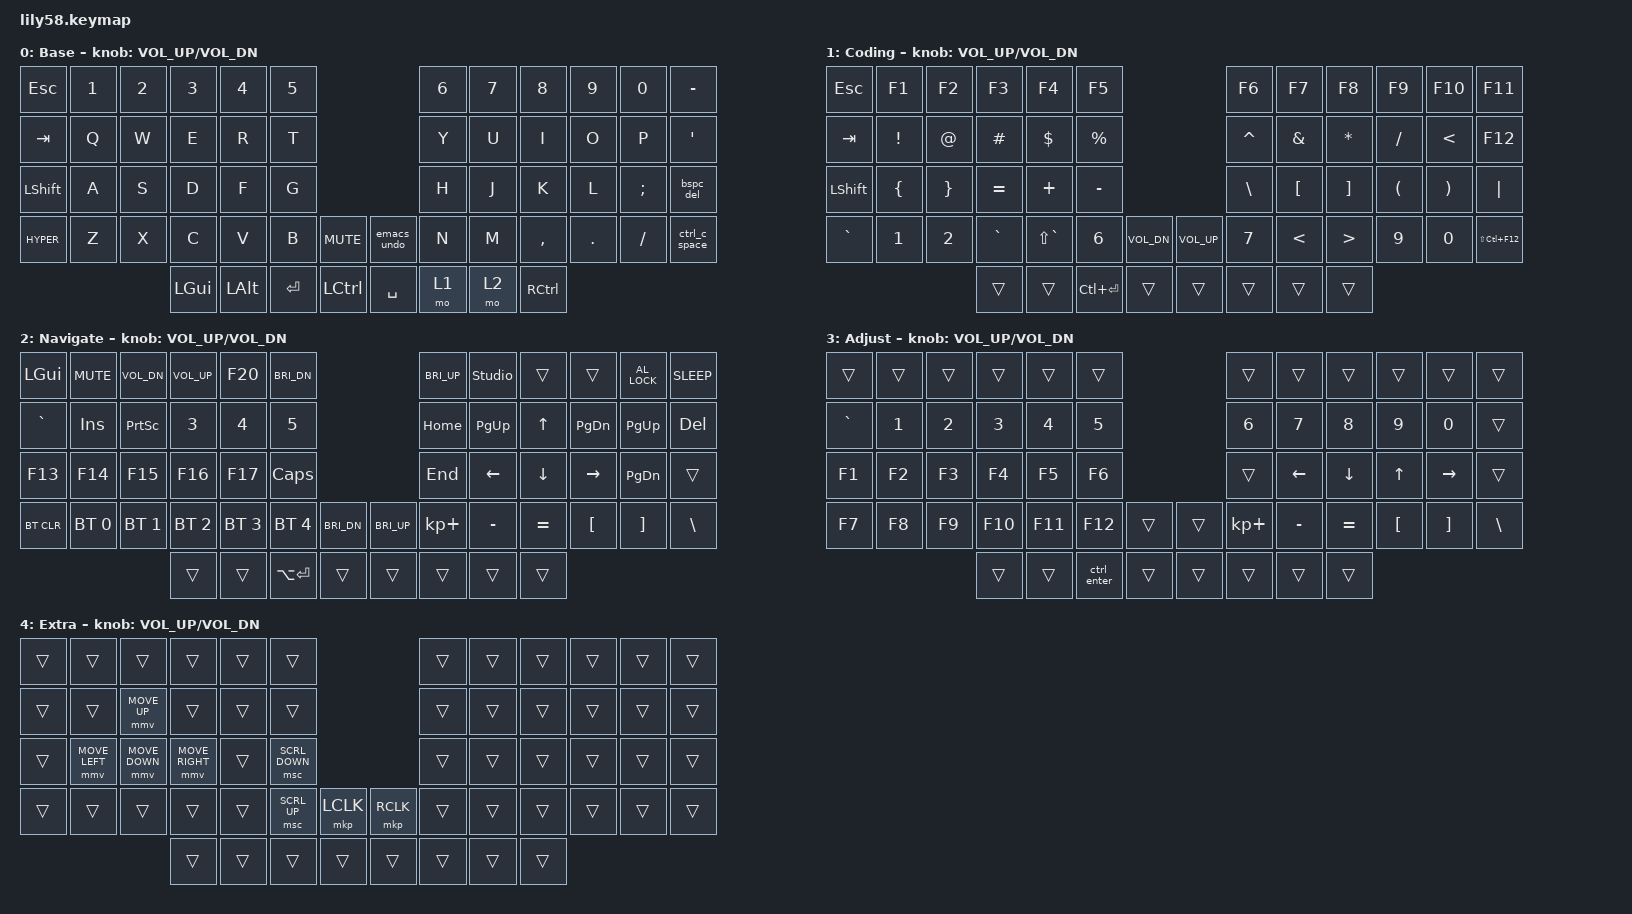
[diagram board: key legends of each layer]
/*
 * Copyright (c) 2020 The ZMK Contributors
 *
 * SPDX-License-Identifier: MIT
 */

#include <behaviors.dtsi>
#include <dt-bindings/zmk/keys.h>
#include <dt-bindings/zmk/bt.h>
#include <dt-bindings/zmk/ext_power.h>
#include <dt-bindings/zmk/pointing.h>
#include <dt-bindings/zmk/modifiers.h>
#include <dt-bindings/zmk/behaviors.h>

#define default_layer 0
#define coding_layer 1
#define navigate_layer 2
#define adjust_layer 3
#define extra_layer 4

#define HYPER (MOD_LCTL | MOD_LALT | MOD_LSFT | MOD_LGUI)

/ {
    macros {
        ctrl_c_space: ctrl_c_space {
            compatible = "zmk,behavior-macro";
            label = "CTRL_C_SPACE";
            #binding-cells = <0>;

            bindings =
                <&macro_press &kp LCTRL>
                ,<&macro_tap &kp C>
                ,<&macro_release &kp LCTRL>
                ,<&macro_tap &kp SPACE>;
        };

        ctrl_enter: ctrl_enter {
            compatible = "zmk,behavior-macro";
            label = "CTRL_ENTER";
            #binding-cells = <0>;

            bindings =
                <&macro_press &kp LCTRL>
                ,<&macro_tap &kp ENTER>
                ,<&macro_release &kp LCTRL>;
        };

	alt_enter: alt_enter {
            compatible = "zmk,behavior-macro";
            label = "ALT_ENTER";
            #binding-cells = <0>;

            bindings =
                <&macro_press &kp LALT>
                ,<&macro_tap &kp ENTER>
                ,<&macro_release &kp LALT>;
        };

	emacs_undo: emacs_undo {
            compatible = "zmk,behavior-macro";
            label = "EMACS_UNDO";
            #binding-cells = <0>;

            bindings =
                <&macro_press &kp LCTRL>
                ,<&macro_tap &kp UNDER>
                ,<&macro_release &kp LCTRL>;
        };


    };

    behaviors {
      bspc_del: bspc_del {
        compatible = "zmk,behavior-mod-morph";
        #binding-cells = <0>;

        bindings = <&kp BACKSPACE>, <&kp DELETE>;
        mods = <(MOD_LSFT|MOD_RSFT)>;
      };


      f21_f22: f21_f22 {
        compatible = "zmk,behavior-mod-morph";
        #binding-cells = <0>;

        bindings = <&kp F21>, <&kp F22>;
	mods = <(MOD_LCTL|MOD_LSFT|MOD_RSFT)>;
      };

   };



    keymap {
        compatible = "zmk,keymap";

        default_layer {
            display-name = "Base";

// ------------------------------------------------------------------------------------------------------------
// |  ESC  |  1  |  2  |  3   |  4   |  5   |                   |  6   |  7    |  8    |  9   |   0   |   `   |
// |  TAB  |  Q  |  W  |  E   |  R   |  T   |                   |  Y   |  U    |  I    |  O   |   P   |   -   |
// |  CTRL |  A  |  S  |  D   |  F   |  G   |                   |  H   |  J    |  K    |  L   |   ;   |   '   |
// | SHIFT |  Z  |  X  |  C   |  V   |  B   |   "["  |  |  "]"  |  N   |  M    |  ,    |  .   |   /   | SHIFT |
//                     | ALT  | GUI  | LOWER|  SPACE |  | ENTER | RAISE| BSPC  | GUI   |
            bindings = <
&kp ESCAPE      &kp N1  &kp N2  &kp N3    &kp N4     &kp N5                          &kp N6  &kp N7     &kp N8        &kp N9   &kp N0    &kp MINUS
&kp TAB         &kp Q   &kp W   &kp E     &kp R      &kp T                           &kp Y   &kp U      &kp I         &kp O    &kp P     &kp SQT
&kp LSHIFT      &kp A   &kp S   &kp D     &kp F      &kp G                           &kp H   &kp J      &kp K         &kp L    &kp SEMI  &bspc_del
&kp HYPER       &kp Z   &kp X   &kp C     &kp V      &kp B   &kp C_MUTE   &emacs_undo &kp N  &kp M      &kp COMMA     &kp DOT  &kp FSLH  &ctrl_c_space
                                &kp LGUI  &kp LALT   &kp RET &kp LCTRL  &kp SPACE  &mo 1   &mo 2      &kp RCTRL  
            >;

            sensor-bindings = <&inc_dec_kp C_VOL_UP C_VOL_DN>;
        };

        lower_layer {
            display-name = "Coding";
// ------------------------------------------------------------------------------------------------------------
// | BTCLR | BT1 | BT2 |  BT3 |  BT4 |  BT5 |                   |      |       |       |      |       |       |
// |  F1   |  F2 |  F3 |  F4  |  F5  |  F6  |                   |  F7  |  F8   |  F9   |  F10 |  F11  |  F12  |
// |   `   |  !  |  @  |  #   |  $   |  %   |                   |  ^   |  &    |  *    |  (   |   )   |   ~   |
// |       |     |     |      |      |      |        |  |       |      |  _    |  +    |  {   |   }   |  "|"  |
//                     |      |      |      |        |  |       |      |       |       |
            bindings = <
&kp ESCAPE     &kp F1         &kp F2        &kp F3        &kp F4          &kp F5                    &kp F6            &kp F7            &kp F8         &kp F9     &kp F10        &kp F11
&kp TAB       &kp EXCL        &kp AT        &kp HASH      &kp DOLLAR      &kp PRCNT                 &kp CARET         &kp AMPS          &kp ASTRK      &kp FSLH   &kp LT          &kp F12
&kp LSHIFT    &kp LEFT_BRACE &kp RIGHT_BRACE &kp EQUAL   &kp PLUS        &kp MINUS                    &kp BACKSLASH    &kp LEFT_BRACKET   &kp RIGHT_BRACKET &kp LPAR &kp RPAR    &kp PIPE
&kp GRAVE     &kp N1       &kp N2          &kp GRAVE    &kp LS(GRAVE) &kp N6   &kp C_VOL_DN  &kp C_VOL_UP    &kp N7  &kp LT      &kp GT  &kp N9         &kp N0      &kp LS(LC(F12))
                                            &trans        &trans          &kp LC(RET)  &trans    &trans    &trans    &trans    &trans
            >;

            sensor-bindings = <&inc_dec_kp C_VOL_UP C_VOL_DN>;
        };

        raise_layer {
            display-name = "Navigate";
// ------------------------------------------------------------------------------------------------------------
// |       |     |     |      |      |      |                   |      |       |       |      |       |       |
// |   `   |  1  |  2  |  3   |  4   |  5   |                   |  6   |   7   |   8   |  9   |   0   |       |
// |   F1  |  F2 |  F3 |  F4  |  F5  |  F6  |                   |      |   <-  |   v   |  ^   |  ->   |       |
// |   F7  |  F8 |  F9 |  F10 |  F11 |  F12 |        |  |       |  +   |   -   |   =   |  [   |   ]   |   \   |
//                     |      |      |      |        |  |       |      |       |       |
            bindings = <
&kp LGUI   &kp C_MUTE  &kp C_VOL_DN     &kp C_VOL_UP &kp F20  &kp C_BRI_DN                           &kp C_BRI_UP  &studio_unlock &trans  &trans     &kp C_AL_LOCK  &kp C_SLEEP
&kp GRAVE  &kp INSERT  &kp PRINTSCREEN  &kp N3   &kp N4   &kp N5                                     &kp HOME    &kp PAGE_UP   &kp UP     &kp PAGE_DOWN    &kp PAGE_UP    &kp DEL
&kp F13    &kp F14     &kp F15          &kp F16  &kp F17  &kp CAPSLOCK                               &kp END  &kp LEFT   &kp DOWN   &kp RIGHT  &kp PAGE_DOWN  &trans
&bt BT_CLR &bt BT_SEL 0 &bt BT_SEL 1  &bt BT_SEL 2 &bt BT_SEL 3 &bt BT_SEL 4   &kp C_BRI_DN  &kp C_BRI_UP   &kp KP_PLUS    &kp MINUS  &kp EQUAL  &kp LBKT   &kp RBKT       &kp BSLH
                                        &trans   &trans   &kp LA(RET)  &trans      &trans         &trans          &trans     &trans
            >;

            sensor-bindings = <&inc_dec_kp C_VOL_UP C_VOL_DN>;
        };
        adjust_layer {
            display-name = "Adjust";
// ------------------------------------------------------------------------------------------------------------
// |       |     |     |      |      |      |                   |      |       |       |      |       |       |
// |   `   |  1  |  2  |  3   |  4   |  5   |                   |  6   |   7   |   8   |  9   |   0   |       |
// |   F1  |  F2 |  F3 |  F4  |  F5  |  F6  |                   |      |   <-  |   v   |  ^   |  ->   |       |
// |   F7  |  F8 |  F9 |  F10 |  F11 |  F12 |        |  |       |  +   |   -   |   =   |  [   |   ]   |   \   |
//                     |      |      |      |        |  |       |      |       |       |
            bindings = <
&trans     &trans  &trans  &trans   &trans   &trans                     &trans       &trans     &trans     &trans    &trans     &trans
&kp GRAVE  &kp N1  &kp N2  &kp N3   &kp N4   &kp N5                     &kp N6       &kp N7     &kp N8     &kp N9    &kp N0     &trans
&kp F1     &kp F2  &kp F3  &kp F4   &kp F5   &kp F6                     &trans       &kp LEFT   &kp DOWN   &kp UP    &kp RIGHT  &trans
&kp F7     &kp F8  &kp F9  &kp F10  &kp F11  &kp F12  &trans    &trans  &kp KP_PLUS  &kp MINUS  &kp EQUAL  &kp LBKT  &kp RBKT   &kp BSLH
                           &trans   &trans   &ctrl_enter   &trans    &trans  &trans       &trans     &trans
            >;

            sensor-bindings = <&inc_dec_kp C_VOL_UP C_VOL_DN>;
        };
        extra_layer {
            display-name = "Extra";
// ------------------------------------------------------------------------------------------------------------
// |       |     |     |      |      |      |                   |      |       |       |      |       |       |
// |   `   |  1  |  2  |  3   |  4   |  5   |                   |  6   |   7   |   8   |  9   |   0   |       |
// |   F1  |  F2 |  F3 |  F4  |  F5  |  F6  |                   |      |   <-  |   v   |  ^   |  ->   |       |
// |   F7  |  F8 |  F9 |  F10 |  F11 |  F12 |        |  |       |  +   |   -   |   =   |  [   |   ]   |   \   |
//                     |      |      |      |        |  |       |      |       |       |
            bindings = <
&trans    &trans &trans &trans  &trans  &trans                       &trans      &trans    &trans    &trans   &trans    &trans
&trans    &trans &mmv MOVE_UP &trans  &trans  &trans                       &trans      &trans    &trans    &trans   &trans    &trans
&trans    &mmv MOVE_LEFT &mmv MOVE_DOWN &mmv MOVE_RIGHT  &trans  &msc SCRL_DOWN      &trans      &trans    &trans    &trans   &trans    &trans
&trans    &trans &trans &trans  &trans  &msc SCRL_UP   &mkp LCLK      &mkp RCLK    &trans       &trans    &trans    &trans   &trans    &trans
                        &trans  &trans  &trans    &trans   &trans    &trans      &trans    &trans
            >;

            sensor-bindings = <&inc_dec_kp C_VOL_UP C_VOL_DN>;
        };
    };
};
